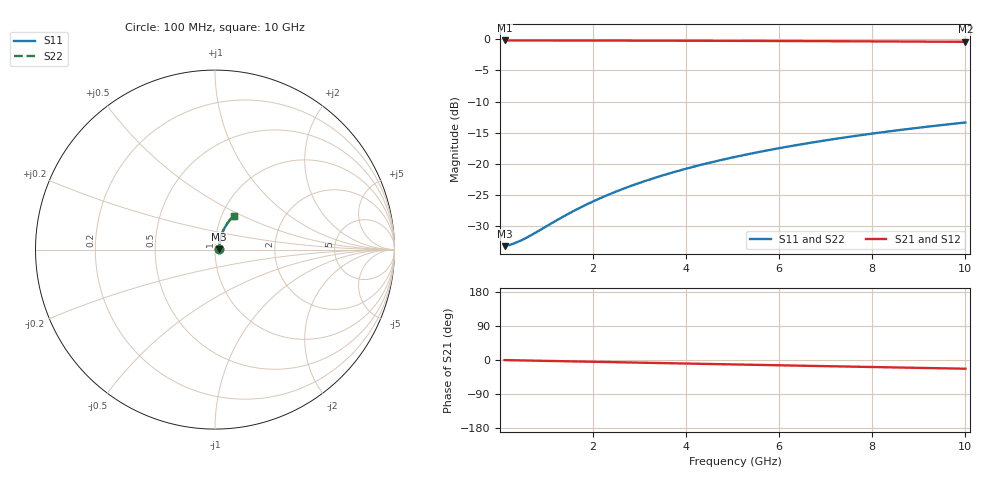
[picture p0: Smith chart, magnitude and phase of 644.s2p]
# Hz S RI R 50.00
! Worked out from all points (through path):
!   100 points, 100 MHz to 10 GHz, reference 50 ohm
!   highest |S21| = -0.19 dB at 100 MHz (marker M1); lowest = -0.4 dB at 10 GHz (marker M2)
!   group delay of S21, straight-line fit = 6.4 ps
!   lowest |S11| = -33.2 dB at 100 MHz (marker M3), VSWR 1.04, Z = 52.2 + j0.224 ohm
!   |S11| at or under -10 dB: start of sweep to end of sweep
!   |S22| runs from -33.2 to -13.3 dB; largest |S21 - S12| = 0
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1e8  0.0218 0.00215  0.9782 -0.00399  0.9782 -0.00399  0.0218 0.00215
2e8  0.022 0.00429  0.978 -0.00799  0.978 -0.00799  0.022 0.00429
3e8  0.0221 0.00644  0.9778 -0.012  0.9778 -0.012  0.0221 0.00644
4e8  0.0223 0.00858  0.9777 -0.016  0.9777 -0.016  0.0223 0.00858
5e8  0.0224 0.0107  0.9775 -0.02  0.9775 -0.02  0.0224 0.0107
7e8  0.0228 0.015  0.9771 -0.0279  0.9771 -0.0279  0.0228 0.015
1.4e9  0.0243 0.0299  0.9753 -0.0558  0.9753 -0.0558  0.0243 0.0299
1.8e9  0.0256 0.0384  0.9738 -0.0716  0.9738 -0.0716  0.0256 0.0384
2.2e9  0.0271 0.0468  0.972 -0.0874  0.972 -0.0874  0.0271 0.0468
2.6e9  0.0288 0.0552  0.9699 -0.1032  0.9699 -0.1032  0.0288 0.0552
3e9  0.0309 0.0635  0.9675 -0.1189  0.9675 -0.1189  0.0309 0.0635
3.4e9  0.0332 0.0717  0.9648 -0.1345  0.9648 -0.1345  0.0332 0.0717
3.8e9  0.0357 0.0798  0.9617 -0.15  0.9617 -0.15  0.0357 0.0798
4.2e9  0.0385 0.0878  0.9584 -0.1654  0.9584 -0.1654  0.0385 0.0878
4.6e9  0.0416 0.0957  0.9547 -0.1807  0.9547 -0.1807  0.0416 0.0957
5.1e9  0.0457 0.1054  0.9497 -0.1997  0.9497 -0.1997  0.0457 0.1054
5.9e9  0.0532 0.1206  0.9407 -0.2296  0.9407 -0.2296  0.0532 0.1206
6.7e9  0.0615 0.1351  0.9306 -0.259  0.9306 -0.259  0.0615 0.1351
7.5e9  0.0708 0.1491  0.9194 -0.2877  0.9194 -0.2877  0.0708 0.1491
8.4e9  0.0821 0.1639  0.9055 -0.3192  0.9055 -0.3192  0.0821 0.1639
9.2e9  0.093 0.1763  0.8921 -0.3465  0.8921 -0.3465  0.093 0.1763
1e10  0.1046 0.1879  0.8778 -0.373  0.8778 -0.373  0.1046 0.1879
